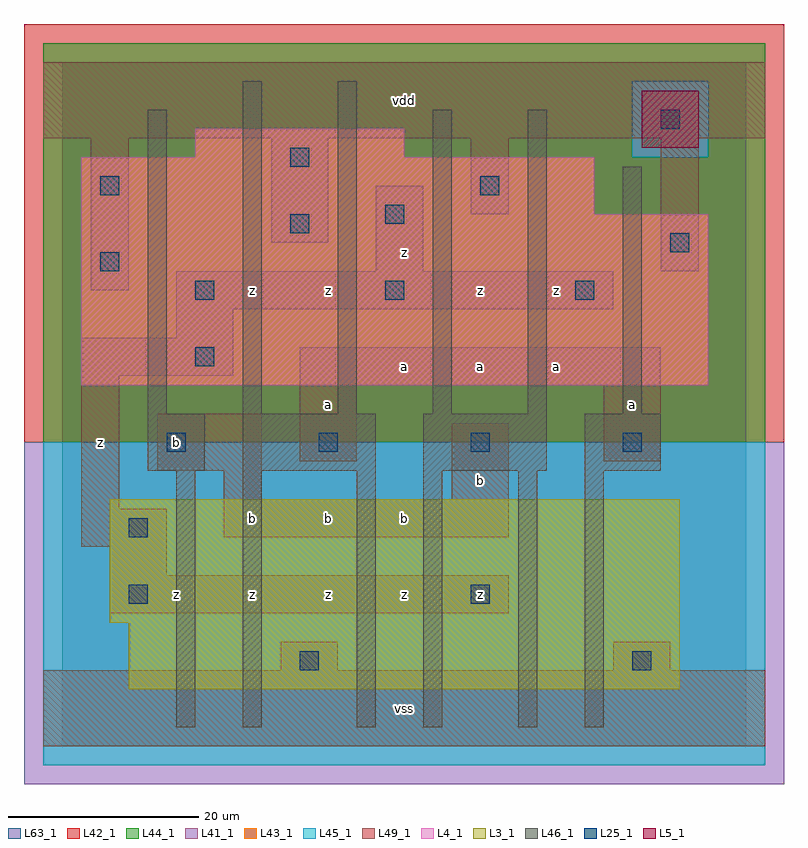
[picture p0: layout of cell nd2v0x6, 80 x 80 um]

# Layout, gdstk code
import gdstk
lib = gdstk.Library(unit=1e-6, precision=1e-09)
def R(c, l, rs):  # rectangles x0, y0, x1, y1
    for r in rs: c.add(gdstk.rectangle(r[:2], r[2:], *l))
def A(c, l, x, y, w, h, nx, ny, dx, dy):  # array of equal rectangles
    R(c, l, [(x+i*dx, y+j*dy, x+i*dx+w, y+j*dy+h) for i in range(nx) for j in range(ny)])
L3_1 = (3, 1)
L4_1 = (4, 1)
L5_1 = (5, 1)
L25_1 = (25, 1)
L41_1 = (41, 1)
L42_1 = (42, 1)
L43_1 = (43, 1)
L44_1 = (44, 1)
L45_1 = (45, 1)
L46_1 = (46, 1)
L49_1 = (49, 1)
L63_1 = (63, 1)

nd2v0x6 = lib.new_cell('nd2v0x6')
R(nd2v0x6, L3_1, [(7,6,65,13), (5,13,65,26)])
R(nd2v0x6, L4_1, [(2,38,68,56), (2,56,56,62), (14,62,36,65)])
R(nd2v0x6, L5_1, [(61,63,67,69)])
A(nd2v0x6, L25_1, 11, 31, 2, 2, 4, 1, 16, 0)
A(nd2v0x6, L25_1, 14, 47, 2, 2, 3, 1, 20, 0)
R(nd2v0x6, L25_1, [(25,8,27,10), (60,8,62,10), (7,15,9,17), (43,15,45,17), (7,22,9,24), (14,40,16,42), (4,50,6,52), (64,52,66,54), (24,54,26,56), (34,55,36,57), (4,58,6,60), (44,58,46,60), (24,61,26,63), (63,65,65,67)])
R(nd2v0x6, L41_1, [(-4,-4,76,32)])
R(nd2v0x6, L42_1, [(-4,32,76,76)])
R(nd2v0x6, L43_1, [(7,6,65,13), (5,13,65,26), (2,38,68,56), (2,56,56,62), (14,62,36,65), (61,63,67,69)])
R(nd2v0x6, L44_1, [(-2,32,74,62), (-2,62,60,70), (68,62,74,70), (-2,70,74,74)])
R(nd2v0x6, L45_1, [(-2,-2,74,32), (60,62,68,70)])
R(nd2v0x6, L46_1, [(12,2,14,29), (19,2,21,29), (31,2,33,29), (38,2,40,29), (48,2,50,29), (55,2,57,29), (9,29,15,35), (19,29,33,35), (38,29,51,35), (55,29,63,35), (9,35,11,67), (19,35,21,70), (29,35,31,70), (39,35,41,67), (49,35,51,67), (59,35,61,61)])
R(nd2v0x6, L49_1, [(-2,0,74,8), (23,8,29,11), (58,8,64,11), (5,14,47,18), (5,18,11,21), (2,21,11,25), (17,22,47,26), (2,25,6,39), (17,26,21,29), (41,26,47,34), (10,29,21,35), (25,30,31,38), (57,30,63,38), (25,38,63,42), (2,39,18,43), (12,43,18,46), (12,46,58,50), (3,48,7,64), (33,50,38,59), (63,50,67,64), (22,53,28,64), (43,56,47,64), (-2,64,74,72)])
R(nd2v0x6, L63_1, [(0,0,72,72)])
nd2v0x6.add(gdstk.Label('z', (4,32), layer=49, texttype=1))
nd2v0x6.add(gdstk.Label('z', (20,16), layer=49, texttype=1))
nd2v0x6.add(gdstk.Label('z', (12,16), layer=49, texttype=1))
nd2v0x6.add(gdstk.Label('b', (20,24), layer=49, texttype=1))
nd2v0x6.add(gdstk.Label('b', (12,32), layer=49, texttype=1))
nd2v0x6.add(gdstk.Label('z', (20,48), layer=49, texttype=1))
nd2v0x6.add(gdstk.Label('vss', (36,4), layer=49, texttype=1))
nd2v0x6.add(gdstk.Label('z', (36,16), layer=49, texttype=1))
nd2v0x6.add(gdstk.Label('z', (28,16), layer=49, texttype=1))
nd2v0x6.add(gdstk.Label('b', (28,24), layer=49, texttype=1))
nd2v0x6.add(gdstk.Label('b', (36,24), layer=49, texttype=1))
nd2v0x6.add(gdstk.Label('a', (28,36), layer=49, texttype=1))
nd2v0x6.add(gdstk.Label('a', (36,40), layer=49, texttype=1))
nd2v0x6.add(gdstk.Label('z', (28,48), layer=49, texttype=1))
nd2v0x6.add(gdstk.Label('z', (36,52), layer=49, texttype=1))
nd2v0x6.add(gdstk.Label('vdd', (36,68), layer=49, texttype=1))
nd2v0x6.add(gdstk.Label('z', (44,16), layer=49, texttype=1))
nd2v0x6.add(gdstk.Label('b', (44,28), layer=49, texttype=1))
nd2v0x6.add(gdstk.Label('a', (44,40), layer=49, texttype=1))
nd2v0x6.add(gdstk.Label('a', (52,40), layer=49, texttype=1))
nd2v0x6.add(gdstk.Label('z', (44,48), layer=49, texttype=1))
nd2v0x6.add(gdstk.Label('z', (52,48), layer=49, texttype=1))
nd2v0x6.add(gdstk.Label('a', (60,36), layer=49, texttype=1))

lib.write_gds('nd2v0x6.gds')
